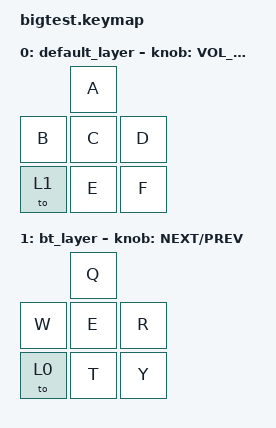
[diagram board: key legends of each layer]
#include <behaviors.dtsi>
#include <dt-bindings/zmk/keys.h>
#include <dt-bindings/zmk/bt.h>

#define default_layer 0
#define bt_layer 1

/ {
    keymap {
        compatible = "zmk,keymap";

        default_layer {
            bindings = <
                        &kp A   
            &kp B     &kp C    &kp D   
            &to 1       &kp E    &kp F   
            >;
        sensor-bindings = <&inc_dec_kp C_VOL_UP C_VOL_DN>;
        };

        bt_layer {
            bindings = <
                        &kp Q   
            &kp W     &kp E     &kp R   
            &to 0          &kp T     &kp Y
            >;
        sensor-bindings = <&inc_dec_kp C_NEXT C_PREV>;
        };

    };
};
